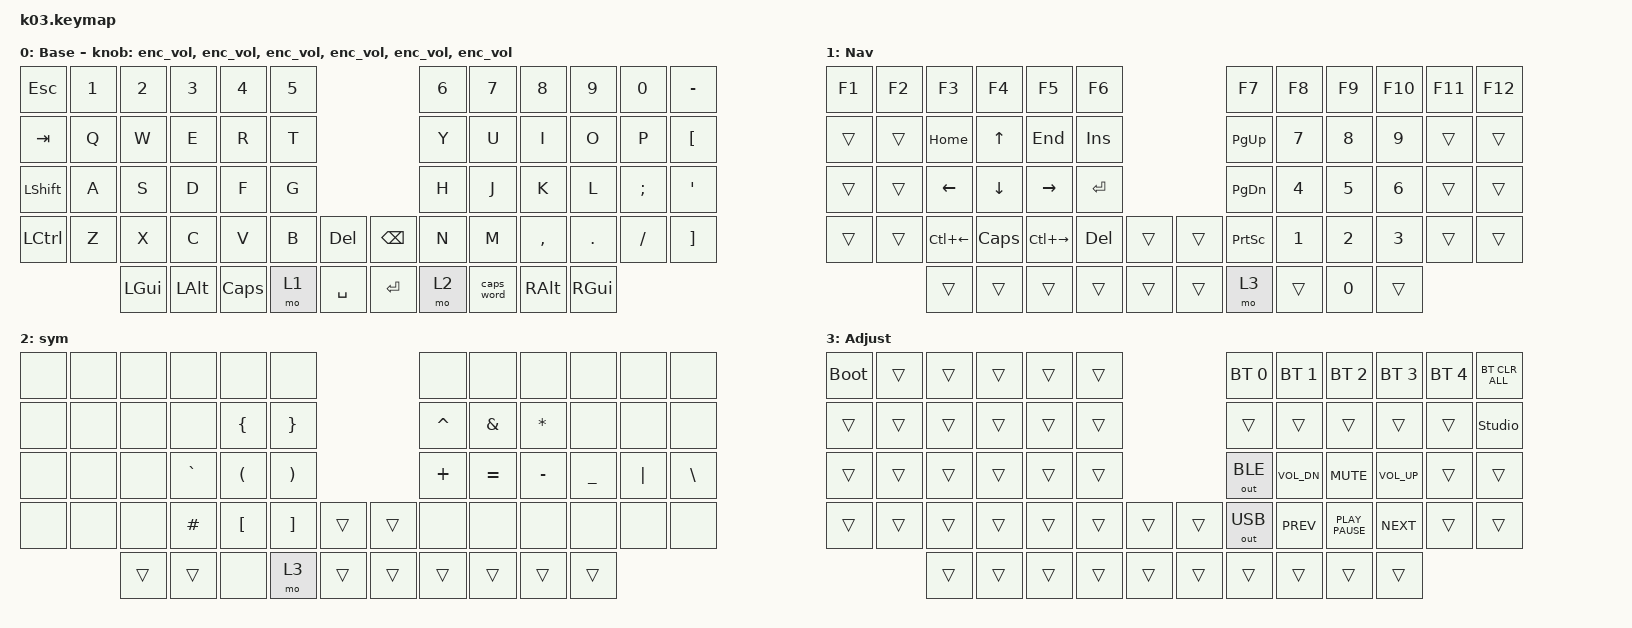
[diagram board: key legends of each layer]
#include "keys_ru.h"
#include <behaviors.dtsi>
#include <dt-bindings/zmk/bt.h>
#include <dt-bindings/zmk/keys.h>
#include <dt-bindings/zmk/outputs.h>

/ {
    behaviors {
        enc_vol: enc_vol {
            compatible = "zmk,behavior-sensor-rotate";
            label = "ENC_VOL";
            #sensor-binding-cells = <0>;
            bindings = <&kp C_VOL_UP>, <&kp C_VOL_DN>;
        };

        caps_word: caps_word {
            compatible = "zmk,behavior-caps-word";
            label = "CAPS_WORD";
            #binding-cells = <0>;
            continue-list = <A B C D E F G H I J K L M N O P Q R S T U V W X Y Z MINUS UNDERSCORE>;
        };
    };

    keymap {
        compatible = "zmk,keymap";

        base {
            bindings = <
&kp ESC    &kp N1  &kp N2    &kp N3    &kp N4    &kp N5                           &kp N6  &kp N7      &kp N8     &kp N9    &kp N0    &kp MINUS
&kp TAB    &kp Q   &kp W     &kp E     &kp R     &kp T                            &kp Y   &kp U       &kp I      &kp O     &kp P     &kp LEFT_BRACKET
&kp LSHFT  &kp A   &kp S     &kp D     &kp F     &kp G                            &kp H   &kp J       &kp K      &kp L     &kp SEMI  &kp SQT
&kp LCTRL  &kp Z   &kp X     &kp C     &kp V     &kp B   &kp DELETE    &kp BSPC   &kp N   &kp M       &kp COMMA  &kp DOT   &kp FSLH  &kp RIGHT_BRACKET
                   &kp LGUI  &kp LALT  &kp CAPS  &mo 1   &kp SPACE     &kp ENTER  &mo 2   &caps_word  &kp RALT   &kp RGUI
            >;

            display-name = "Base";
            sensor-bindings =
                <&enc_vol>,
                <&enc_vol>,
                <&enc_vol>,
                <&enc_vol>,
                <&enc_vol>,
                <&enc_vol>;
        };

        nav {
            bindings = <
&kp F1  &kp F2  &kp F3        &kp F4    &kp F5         &kp F6                     &kp F7           &kp F8  &kp F9  &kp F10  &kp F11  &kp F12
&trans  &trans  &kp HOME      &kp UP    &kp END        &kp INS                    &kp PG_UP        &kp N7  &kp N8  &kp N9   &trans   &trans
&trans  &trans  &kp LEFT      &kp DOWN  &kp RIGHT      &kp RET                    &kp PG_DN        &kp N4  &kp N5  &kp N6   &trans   &trans
&trans  &trans  &kp LC(LEFT)  &kp CAPS  &kp LC(RIGHT)  &kp DEL  &trans    &trans  &kp PRINTSCREEN  &kp N1  &kp N2  &kp N3   &trans   &trans
                &trans        &trans    &trans         &trans   &trans    &trans  &mo 3            &trans  &kp N0  &trans
            >;

            display-name = "Nav";
        };

        sym {
            bindings = <
&none  &none  &none   &none      &none                 &none                                    &none      &none      &none         &none           &none     &none
&none  &none  &none   &none      &kp LEFT_BRACE        &kp RIGHT_BRACE                          &kp CARET  &kp AMPS   &kp ASTERISK  &none           &none     &none
&none  &none  &none   &kp GRAVE  &kp LEFT_PARENTHESIS  &kp RIGHT_PARENTHESIS                    &kp PLUS   &kp EQUAL  &kp MINUS     &kp UNDERSCORE  &kp PIPE  &kp BACKSLASH
&none  &none  &none   &kp HASH   &kp LEFT_BRACKET      &kp RIGHT_BRACKET      &trans    &trans  &none      &none      &none         &none           &none     &none
              &trans  &trans     &none                 &mo 3                  &trans    &trans  &trans     &trans     &trans        &trans
            >;
        };

        adj {
            bindings = <
&bootloader  &trans  &trans  &trans  &trans  &trans                    &bt BT_SEL 0  &bt BT_SEL 1  &bt BT_SEL 2      &bt BT_SEL 3  &bt BT_SEL 4  &bt BT_CLR_ALL
&trans       &trans  &trans  &trans  &trans  &trans                    &trans        &trans        &trans            &trans        &trans        &studio_unlock
&trans       &trans  &trans  &trans  &trans  &trans                    &out OUT_BLE  &kp C_VOL_DN  &kp K_MUTE        &kp C_VOL_UP  &trans        &trans
&trans       &trans  &trans  &trans  &trans  &trans  &trans    &trans  &out OUT_USB  &kp K_PREV    &kp K_PLAY_PAUSE  &kp K_NEXT    &trans        &trans
                     &trans  &trans  &trans  &trans  &trans    &trans  &trans        &trans        &trans            &trans
            >;

            display-name = "Adjust";
        };
    };
};
